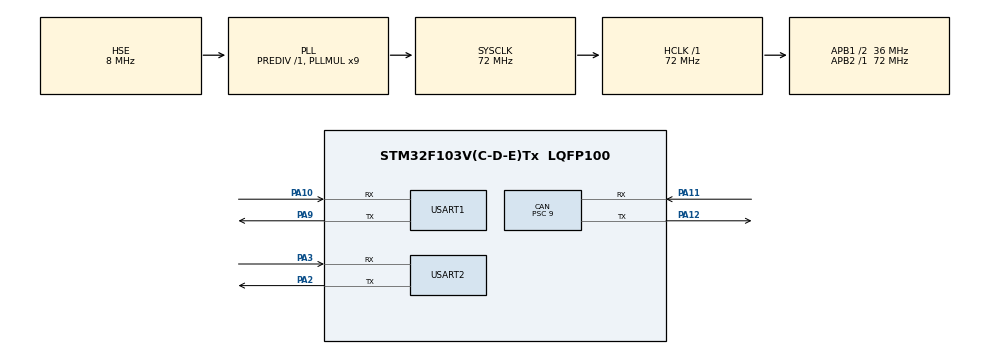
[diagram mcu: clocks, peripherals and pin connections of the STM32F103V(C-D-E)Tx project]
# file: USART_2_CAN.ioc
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CAN.BS1=CAN_BS1_4TQ
CAN.BS2=CAN_BS2_4TQ
CAN.CalculateTimeBit=2250
CAN.CalculateTimeQuantum=250.0
CAN.Mode=CAN_MODE_LOOPBACK
CAN.Prescaler=9
Dma.Request0=USART1_RX
Dma.Request1=USART1_TX
Dma.Request2=USART2_RX
Dma.Request3=USART2_TX
Dma.USART1_RX.0.Direction=DMA_PERIPH_TO_MEMORY
Dma.USART1_RX.0.Instance=DMA1_Channel5
Dma.USART1_RX.0.MemDataAlignment=DMA_MDATAALIGN_BYTE
Dma.USART1_RX.0.MemInc=DMA_MINC_ENABLE
Dma.USART1_RX.0.Mode=DMA_NORMAL
Dma.USART1_RX.0.PeriphDataAlignment=DMA_PDATAALIGN_BYTE
Dma.USART1_RX.0.PeriphInc=DMA_PINC_DISABLE
Dma.USART1_RX.0.Priority=DMA_PRIORITY_LOW
Dma.USART1_TX.1.Direction=DMA_MEMORY_TO_PERIPH
Dma.USART1_TX.1.Instance=DMA1_Channel4
Dma.USART1_TX.1.MemDataAlignment=DMA_MDATAALIGN_BYTE
Dma.USART1_TX.1.MemInc=DMA_MINC_ENABLE
Dma.USART1_TX.1.Mode=DMA_NORMAL
Dma.USART1_TX.1.PeriphDataAlignment=DMA_PDATAALIGN_BYTE
Dma.USART1_TX.1.PeriphInc=DMA_PINC_DISABLE
Dma.USART1_TX.1.Priority=DMA_PRIORITY_LOW
Dma.USART2_RX.2.Direction=DMA_PERIPH_TO_MEMORY
Dma.USART2_RX.2.Instance=DMA1_Channel6
Dma.USART2_RX.2.MemDataAlignment=DMA_MDATAALIGN_BYTE
Dma.USART2_RX.2.MemInc=DMA_MINC_ENABLE
Dma.USART2_RX.2.Mode=DMA_NORMAL
Dma.USART2_RX.2.PeriphDataAlignment=DMA_PDATAALIGN_BYTE
Dma.USART2_RX.2.PeriphInc=DMA_PINC_DISABLE
Dma.USART2_RX.2.Priority=DMA_PRIORITY_LOW
Dma.USART2_TX.3.Direction=DMA_MEMORY_TO_PERIPH
Dma.USART2_TX.3.Instance=DMA1_Channel7
Dma.USART2_TX.3.MemDataAlignment=DMA_MDATAALIGN_BYTE
Dma.USART2_TX.3.MemInc=DMA_MINC_ENABLE
Dma.USART2_TX.3.Mode=DMA_NORMAL
Dma.USART2_TX.3.PeriphDataAlignment=DMA_PDATAALIGN_BYTE
Dma.USART2_TX.3.PeriphInc=DMA_PINC_DISABLE
Dma.USART2_TX.3.Priority=DMA_PRIORITY_LOW
Mcu.Family=STM32F1
Mcu.Name=STM32F103V(C-D-E)Tx
Mcu.Package=LQFP100
NVIC.DMA1_Channel4_IRQn=true\:0\:0\:false\:false\:true\:false
NVIC.DMA1_Channel5_IRQn=true\:0\:0\:false\:false\:true\:false
NVIC.DMA1_Channel6_IRQn=true\:0\:0\:false\:false\:true\:false
NVIC.DMA1_Channel7_IRQn=true\:0\:0\:false\:false\:true\:false
NVIC.PriorityGroup=NVIC_PRIORITYGROUP_4
NVIC.USART1_IRQn=true\:0\:0\:false\:false\:true\:true
NVIC.USART2_IRQn=true\:0\:0\:false\:false\:true\:true
OSC_IN.Mode=HSE-External-Oscillator
OSC_IN.Signal=RCC_OSC_IN
OSC_OUT.Mode=HSE-External-Oscillator
OSC_OUT.Signal=RCC_OSC_OUT
PA10.Mode=Asynchronous
PA10.Signal=USART1_RX
PA11.Mode=Master
PA11.Signal=CAN_RX
PA12.Mode=Master
PA12.Signal=CAN_TX
PA13.Mode=Serial_Wire
PA13.Signal=SYS_JTMS-SWDIO
PA14.Mode=Serial_Wire
PA14.Signal=SYS_JTCK-SWCLK
PA2.Mode=Asynchronous
PA2.Signal=USART2_TX
PA3.Mode=Asynchronous
PA3.Signal=USART2_RX
PA9.Mode=Asynchronous
PA9.Signal=USART1_TX
ProjectManager.HeapSize=0x200
ProjectManager.StackSize=0x400
ProjectManager.TargetToolchain=MDK-ARM V5
RCC.AHBFreq_Value=72000000
RCC.APB1CLKDivider=RCC_HCLK_DIV2
RCC.APB1Freq_Value=36000000
RCC.APB1TimFreq_Value=72000000
RCC.APB2Freq_Value=72000000
RCC.APB2TimFreq_Value=72000000
RCC.HCLKFreq_Value=72000000
RCC.PLLMUL=RCC_PLL_MUL9
RCC.PLLSourceVirtual=RCC_PLLSOURCE_HSE
RCC.SYSCLKFreq_VALUE=72000000
RCC.SYSCLKSource=RCC_SYSCLKSOURCE_PLLCLK
RCC.USBFreq_Value=72000000
USART1.VirtualMode=VM_ASYNC
USART2.VirtualMode=VM_ASYNC
board=USART_2_CAN

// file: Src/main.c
/**
  ******************************************************************************
  * File Name          : main.c
  * Description        : Main program body
  ******************************************************************************
  ** This notice applies to any and all portions of this file
  * that are not between comment pairs USER CODE BEGIN and
  * USER CODE END. Other portions of this file, whether
  * inserted by the user or by software development tools
  * are owned by their respective copyright owners.
  *
  * COPYRIGHT(c) 2018 STMicroelectronics
  *
  * Redistribution and use in source and binary forms, with or without modification,
  * are permitted provided that the following conditions are met:
  *   1. Redistributions of source code must retain the above copyright notice,
  *      this list of conditions and the following disclaimer.
  *   2. Redistributions in binary form must reproduce the above copyright notice,
  *      this list of conditions and the following disclaimer in the documentation
  *      and/or other materials provided with the distribution.
  *   3. Neither the name of STMicroelectronics nor the names of its contributors
  *      may be used to endorse or promote products derived from this software
  *      without specific prior written permission.
  *
  * THIS SOFTWARE IS PROVIDED BY THE COPYRIGHT HOLDERS AND CONTRIBUTORS "AS IS"
  * AND ANY EXPRESS OR IMPLIED WARRANTIES, INCLUDING, BUT NOT LIMITED TO, THE
  * IMPLIED WARRANTIES OF MERCHANTABILITY AND FITNESS FOR A PARTICULAR PURPOSE ARE
  * DISCLAIMED. IN NO EVENT SHALL THE COPYRIGHT HOLDER OR CONTRIBUTORS BE LIABLE
  * FOR ANY DIRECT, INDIRECT, INCIDENTAL, SPECIAL, EXEMPLARY, OR CONSEQUENTIAL
  * DAMAGES (INCLUDING, BUT NOT LIMITED TO, PROCUREMENT OF SUBSTITUTE GOODS OR
  * SERVICES; LOSS OF USE, DATA, OR PROFITS; OR BUSINESS INTERRUPTION) HOWEVER
  * CAUSED AND ON ANY THEORY OF LIABILITY, WHETHER IN CONTRACT, STRICT LIABILITY,
  * OR TORT (INCLUDING NEGLIGENCE OR OTHERWISE) ARISING IN ANY WAY OUT OF THE USE
  * OF THIS SOFTWARE, EVEN IF ADVISED OF THE POSSIBILITY OF SUCH DAMAGE.
  *
  ******************************************************************************
  */

#include "main.h"
#include "stm32f1xx_hal.h"
#include "can.h"
#include "dma.h"
#include "usart.h"
#include "gpio.h"

/* USER CODE BEGIN PV */
/* Private variables ---------------------------------------------------------*/
#define TFMINI_DATA_Len             9
#define TFMINT_DATA_HEAD            0x59

extern DMA_HandleTypeDef hdma_usart1_rx;
extern DMA_HandleTypeDef hdma_usart2_rx;

uint8_t g_usart1_rx_buf[USART_BUF_SIZE] = {0};    /*usart1_rx_buf*/
uint8_t g_usart2_rx_buf[USART_BUF_SIZE] = {0};    /*usart2_rx_buf*/

CAN_FilterConfTypeDef  sFilterConfig;
static CanTxMsgTypeDef        TxMessage;
static CanRxMsgTypeDef        RxMessage;

/* USER CODE END PV */

void SystemClock_Config(void);

/* USER CODE BEGIN PFP */
/* Private function prototypes -----------------------------------------------*/

/* USER CODE END PFP */

int main(void)
{

  /* MCU Configuration----------------------------------------------------------*/

  /* Reset of all peripherals, Initializes the Flash interface and the Systick. */
  HAL_Init();

  /* Configure the system clock */
  SystemClock_Config();

  /* Initialize all configured peripherals */
  MX_GPIO_Init();
  MX_DMA_Init();

  MX_USART1_UART_Init();
  MX_USART2_UART_Init();
  MX_CAN_Init();
  /* USER CODE BEGIN 2 */
  printf("TFMini\r\n");
  printf("USART_2_CAN\r\n");
  printf("Argement: 89Byte\r\n");

  HAL_UART_Receive_DMA(&huart1, g_usart1_rx_buf, USART_BUF_SIZE);
  HAL_UART_Receive_DMA(&huart2, g_usart2_rx_buf, USART_BUF_SIZE);

  __HAL_UART_ENABLE_IT(&huart1, UART_IT_IDLE);    //UART_IT_IDLE
  __HAL_UART_ENABLE_IT(&huart2, UART_IT_IDLE);    //UART_IT_IDLE

  hcan.pTxMsg = &TxMessage;
	hcan.pRxMsg = &RxMessage;

  /*##-1- Configure CAN2 Transmission Massage ##*/

  hcan.pTxMsg->StdId = 0x123;
  hcan.pTxMsg->RTR = CAN_RTR_DATA;
  hcan.pTxMsg->IDE = CAN_ID_STD;
  hcan.pTxMsg->DLC = 8;

  /*##-2- Configure the CAN1 Filter ##*/
  sFilterConfig.FilterNumber = 0;
  sFilterConfig.FilterMode = CAN_FILTERMODE_IDMASK;
  sFilterConfig.FilterScale = CAN_FILTERSCALE_32BIT;
  sFilterConfig.FilterIdHigh = 0x0000;
  sFilterConfig.FilterIdLow = 0x0000;
  sFilterConfig.FilterMaskIdHigh = 0x0000;
  sFilterConfig.FilterMaskIdLow = 0x0000;
  sFilterConfig.FilterFIFOAssignment = 0;
  sFilterConfig.FilterActivation = ENABLE;
  sFilterConfig.BankNumber = 14;

	 if(HAL_CAN_ConfigFilter(&hcan, &sFilterConfig) != HAL_OK)
   {
          /* Reception Error */
          Error_Handler();
   }

  /* USER CODE END 2 */

  /* Infinite loop */
  while (1)
  {

  }

}

/** System Clock Configuration
*/
void SystemClock_Config(void)
{

  RCC_OscInitTypeDef RCC_OscInitStruct;
  RCC_ClkInitTypeDef RCC_ClkInitStruct;

    /**Initializes the CPU, AHB and APB busses clocks
    */
  RCC_OscInitStruct.OscillatorType = RCC_OSCILLATORTYPE_HSE;
  RCC_OscInitStruct.HSEState = RCC_HSE_ON;
  RCC_OscInitStruct.HSEPredivValue = RCC_HSE_PREDIV_DIV1;
  RCC_OscInitStruct.HSIState = RCC_HSI_ON;
  RCC_OscInitStruct.PLL.PLLState = RCC_PLL_ON;
  RCC_OscInitStruct.PLL.PLLSource = RCC_PLLSOURCE_HSE;
  RCC_OscInitStruct.PLL.PLLMUL = RCC_PLL_MUL9;
  if (HAL_RCC_OscConfig(&RCC_OscInitStruct) != HAL_OK)
  {
    _Error_Handler(__FILE__, __LINE__);
  }

    /**Initializes the CPU, AHB and APB busses clocks
    */
  RCC_ClkInitStruct.ClockType = RCC_CLOCKTYPE_HCLK|RCC_CLOCKTYPE_SYSCLK
                              |RCC_CLOCKTYPE_PCLK1|RCC_CLOCKTYPE_PCLK2;
  RCC_ClkInitStruct.SYSCLKSource = RCC_SYSCLKSOURCE_PLLCLK;
  RCC_ClkInitStruct.AHBCLKDivider = RCC_SYSCLK_DIV1;
  RCC_ClkInitStruct.APB1CLKDivider = RCC_HCLK_DIV2;
  RCC_ClkInitStruct.APB2CLKDivider = RCC_HCLK_DIV1;

  if (HAL_RCC_ClockConfig(&RCC_ClkInitStruct, FLASH_LATENCY_2) != HAL_OK)
  {
    _Error_Handler(__FILE__, __LINE__);
  }

    /**Configure the Systick interrupt time
    */
  HAL_SYSTICK_Config(HAL_RCC_GetHCLKFreq()/1000);

    /**Configure the Systick
    */
  HAL_SYSTICK_CLKSourceConfig(SYSTICK_CLKSOURCE_HCLK);

  /* SysTick_IRQn interrupt configuration */
  HAL_NVIC_SetPriority(SysTick_IRQn, 0, 0);
}

/* USER CODE BEGIN 4 */
/*************************************************
Function: USART1_RX_Proc
Description: USART1_RX_Proc
Input:
    buf, data buffer
    len, data len
Output: None
Return: None
Others: TFMini output dist unit = cm;
*************************************************/
void USART1_RX_Proc(uint8_t *buf, uint32_t len)
{
    uint32_t i,j = 0;
    uint8_t chk_cal = 0;

    if(TFMINI_DATA_Len == len)
    {
        if((TFMINT_DATA_HEAD == buf[0])&&(TFMINT_DATA_HEAD == buf[1]))
        {
            for(i = 0; i < (TFMINI_DATA_Len - 1); i++)
            {
                chk_cal += buf[i];
            }

            if(chk_cal == buf[TFMINI_DATA_Len - 1])
            {
							  for(j = 0; j< 8; j++)
							  {
								  hcan.pTxMsg->Data[j] = buf[i+1];
								}

								if(HAL_CAN_Transmit(&hcan, 10) != HAL_OK)
								{
										/* Transmition Error */
										Error_Handler();
								}

            }
        }
    }
}

/*************************************************
Function: USART2_RX_Proc
Description: USART2_RX_Proc
Input:
    buf, data buffer
    len, data len
Output: None
Return: None
Others:
*************************************************/
void USART2_RX_Proc(uint8_t *buf, uint32_t len)
{

}
/* USER CODE END 4 */

void _Error_Handler(char * file, int line)
{
  /* USER CODE BEGIN Error_Handler_Debug */
  /* User can add his own implementation to report the HAL error return state */
  while(1)
  {
		printf("_Error_Handler\r\nFile_Name:%s,line:%d",file, line);
  }
  /* USER CODE END Error_Handler_Debug */
}

#ifdef USE_FULL_ASSERT

/**
   * @brief Reports the name of the source file and the source line number
   * where the assert_param error has occurred.
   * @param file: pointer to the source file name
   * @param line: assert_param error line source number
   * @retval None
   */
void assert_failed(uint8_t* file, uint32_t line)
{
  /* USER CODE BEGIN 6 */
  /* User can add his own implementation to report the file name and line number,
    ex: printf("Wrong parameters value: file %s on line %d\r\n", file, line) */
			printf("assert_failed\r\nFile_Name:%s,line:%d",file, line);
  /* USER CODE END 6 */

}

#endif

/************************ (C) COPYRIGHT STMicroelectronics *****END OF FILE****/
